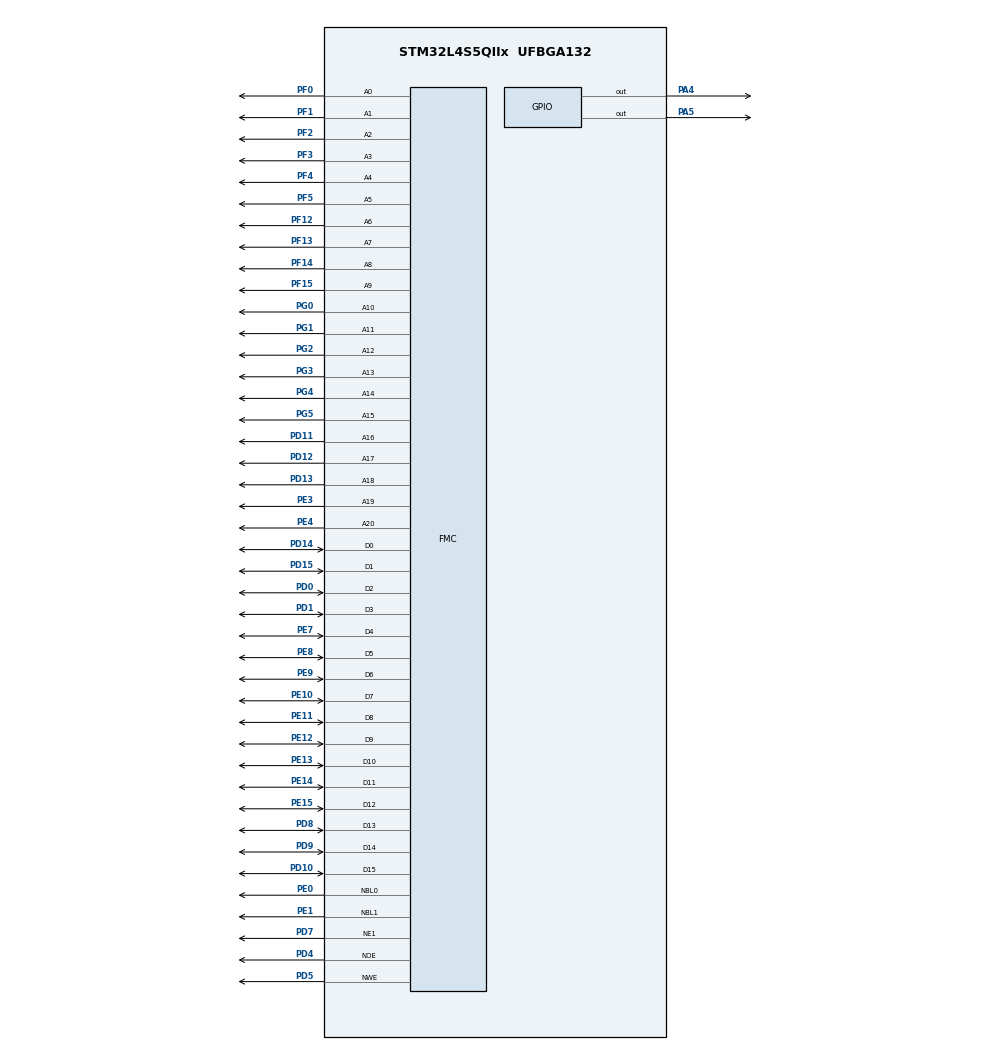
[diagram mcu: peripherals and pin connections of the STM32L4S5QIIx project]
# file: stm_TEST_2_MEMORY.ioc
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FMC.WriteFifo1=FMC_WRITE_FIFO_DISABLE
FMC.WriteFifo2=FMC_WRITE_FIFO_DISABLE
FMC.WriteFifo3=FMC_WRITE_FIFO_DISABLE
FMC.WriteFifo4=FMC_WRITE_FIFO_DISABLE
FMC.WriteOperation1=FMC_WRITE_OPERATION_ENABLE
Mcu.Family=STM32L4
Mcu.Name=STM32L4S5QIIx
Mcu.Package=UFBGA132
NVIC.PriorityGroup=NVIC_PRIORITYGROUP_4
PA4.GPIO_PuPd=GPIO_PULLDOWN
PA4.Signal=GPIO_Output
PA5.GPIO_PuPd=GPIO_PULLDOWN
PA5.Signal=GPIO_Output
PD0.Signal=FMC_D2_DA2
PD1.Signal=FMC_D3_DA3
PD10.Signal=FMC_D15_DA15
PD11.Signal=FMC_A16_CLE
PD12.Signal=FMC_A17_ALE
PD13.Signal=FMC_A18
PD14.Signal=FMC_D0_DA0
PD15.Signal=FMC_D1_DA1
PD4.Signal=FMC_NOE
PD5.Signal=FMC_NWE
PD7.Mode=NorPsramChipSelect1_1
PD7.Signal=FMC_NE1
PD8.Signal=FMC_D13_DA13
PD9.Signal=FMC_D14_DA14
PE0.Signal=FMC_NBL0
PE1.Signal=FMC_NBL1
PE10.Signal=FMC_D7_DA7
PE11.Signal=FMC_D8_DA8
PE12.Signal=FMC_D9_DA9
PE13.Signal=FMC_D10_DA10
PE14.Signal=FMC_D11_DA11
PE15.Signal=FMC_D12_DA12
PE3.Signal=FMC_A19
PE4.Signal=FMC_A20
PE7.Signal=FMC_D4_DA4
PE8.Signal=FMC_D5_DA5
PE9.Signal=FMC_D6_DA6
PF0.Signal=FMC_A0
PF1.Signal=FMC_A1
PF12.Signal=FMC_A6
PF13.Signal=FMC_A7
PF14.Signal=FMC_A8
PF15.Signal=FMC_A9
PF2.Signal=FMC_A2
PF3.Signal=FMC_A3
PF4.Signal=FMC_A4
PF5.Signal=FMC_A5
PG0.Signal=FMC_A10
PG1.Signal=FMC_A11
PG2.Signal=FMC_A12
PG3.Signal=FMC_A13
PG4.Signal=FMC_A14
PG5.Signal=FMC_A15
ProjectManager.HeapSize=0x200
ProjectManager.StackSize=0x400
ProjectManager.TargetToolchain=STM32CubeIDE
RCC.HSE_VALUE=8000000
RCC.HSI48_VALUE=48000000
RCC.HSI_VALUE=16000000
RCC.LSE_VALUE=32768
RCC.MSI_VALUE=4000000
RCC.VCOOutputFreq_Value=32000000
SH.FMC_A0.0=FMC_A0,21b-a1
SH.FMC_A1.0=FMC_A1,21b-a1
SH.FMC_A10.0=FMC_A10,21b-a1
SH.FMC_A11.0=FMC_A11,21b-a1
SH.FMC_A12.0=FMC_A12,21b-a1
SH.FMC_A13.0=FMC_A13,21b-a1
SH.FMC_A14.0=FMC_A14,21b-a1
SH.FMC_A15.0=FMC_A15,21b-a1
SH.FMC_A16_CLE.0=FMC_CLE
SH.FMC_A16_CLE.1=FMC_A16,21b-a1
SH.FMC_A17_ALE.0=FMC_ALE
SH.FMC_A17_ALE.1=FMC_A17,21b-a1
SH.FMC_A18.0=FMC_A18,21b-a1
SH.FMC_A19.0=FMC_A19,21b-a1
SH.FMC_A2.0=FMC_A2,21b-a1
SH.FMC_A20.0=FMC_A20,21b-a1
SH.FMC_A3.0=FMC_A3,21b-a1
SH.FMC_A4.0=FMC_A4,21b-a1
SH.FMC_A5.0=FMC_A5,21b-a1
SH.FMC_A6.0=FMC_A6,21b-a1
SH.FMC_A7.0=FMC_A7,21b-a1
SH.FMC_A8.0=FMC_A8,21b-a1
SH.FMC_A9.0=FMC_A9,21b-a1
SH.FMC_D0_DA0.0=FMC_D0,16b-d1
SH.FMC_D10_DA10.0=FMC_D10,16b-d1
SH.FMC_D11_DA11.0=FMC_D11,16b-d1
SH.FMC_D12_DA12.0=FMC_D12,16b-d1
SH.FMC_D13_DA13.0=FMC_D13,16b-d1
SH.FMC_D14_DA14.0=FMC_D14,16b-d1
SH.FMC_D15_DA15.0=FMC_D15,16b-d1
SH.FMC_D1_DA1.0=FMC_D1,16b-d1
SH.FMC_D2_DA2.0=FMC_D2,16b-d1
SH.FMC_D3_DA3.0=FMC_D3,16b-d1
SH.FMC_D4_DA4.0=FMC_D4,16b-d1
SH.FMC_D5_DA5.0=FMC_D5,16b-d1
SH.FMC_D6_DA6.0=FMC_D6,16b-d1
SH.FMC_D7_DA7.0=FMC_D7,16b-d1
SH.FMC_D8_DA8.0=FMC_D8,16b-d1
SH.FMC_D9_DA9.0=FMC_D9,16b-d1
SH.FMC_NBL0.0=FMC_NBL0,2ByteEnable1
SH.FMC_NBL1.0=FMC_NBL1,2ByteEnable1
SH.FMC_NOE.0=FMC_NOE,Sram1
SH.FMC_NWE.0=FMC_NWE,Sram1
board=custom

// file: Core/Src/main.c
/* USER CODE BEGIN Header */
/**
  ******************************************************************************
  * @file           : main.c
  * @brief          : Main program body
  ******************************************************************************
  * @attention
  *
  * Copyright (c) 2024 STMicroelectronics.
  * All rights reserved.
  *
  * This software is licensed under terms that can be found in the LICENSE file
  * in the root directory of this software component.
  * If no LICENSE file comes with this software, it is provided AS-IS.
  *
  ******************************************************************************
  */
/* USER CODE END Header */
#include "main.h"

SRAM_HandleTypeDef hsram1;

void SystemClock_Config(void);
static void MX_GPIO_Init(void);
static void MX_FMC_Init(void);

int main(void)
{
  /* USER CODE BEGIN 1 */
		volatile uint16_t * ptr = (uint16_t *)(0x60000000U);
		volatile uint16_t * ptr_teste;
		int count = 0;
		int done = 0;
		uint16_t data_read;
		uint16_t data_write;
		uint16_t data_read1;
		uint16_t data_read2;
  /* USER CODE END 1 */

  /* MCU Configuration--------------------------------------------------------*/

  /* Reset of all peripherals, Initializes the Flash interface and the Systick. */
  HAL_Init();

  /* Configure the system clock */
  SystemClock_Config();

  /* Initialize all configured peripherals */
  MX_GPIO_Init();
  MX_FMC_Init();
  /* USER CODE BEGIN 2 */
  void bypass1()
    {
  	  uint16_t data_read;
  	  uint16_t * ptr = (uint16_t *)(0x60000000U);
  	  data_read =  *(ptr);
  	  HAL_GPIO_WritePin(GPIOA,GPIO_PIN_4,GPIO_PIN_RESET);
  	  HAL_GPIO_WritePin(GPIOA,GPIO_PIN_5,GPIO_PIN_RESET);
    }

    void bypass2()
      {
  	  uint16_t data_read;
  	  uint16_t * ptr = (uint16_t *)(0x60000000U);
  	  data_read =  *(ptr);
    	  HAL_GPIO_WritePin(GPIOA,GPIO_PIN_4,GPIO_PIN_SET);
    	  HAL_GPIO_WritePin(GPIOA,GPIO_PIN_5,GPIO_PIN_RESET);
      }
    void TBEC()
        {
  	  	  uint16_t data_read;
  	  	  uint16_t * ptr = (uint16_t *)(0x60000000U);
  	  	  data_read =  *(ptr);
      	  HAL_GPIO_WritePin(GPIOA,GPIO_PIN_4,GPIO_PIN_RESET);
      	  HAL_GPIO_WritePin(GPIOA,GPIO_PIN_5,GPIO_PIN_SET);
        }
    void MRSC()
          {
  	  	  uint16_t data_read;
  	  	  uint16_t * ptr = (uint16_t *)(0x60000000U);
  	  	  data_read =  *(ptr);
        	  HAL_GPIO_WritePin(GPIOA,GPIO_PIN_4,GPIO_PIN_SET);
        	  HAL_GPIO_WritePin(GPIOA,GPIO_PIN_5,GPIO_PIN_SET);
          }

  /* USER CODE END 2 */

  /* Infinite loop */
  /* USER CODE BEGIN WHILE */
  while (1)
  {
	  TBEC();
	  data_write = 0xAA;
	  *ptr = data_write;
	 /* bypass1();
	  data_read1 = *ptr;
	  bypass2();
	  data_read2 = *ptr;*/
	  data_read1 = *ptr;
	  MRSC();
	  	  data_write = 0xAA;
	  	  *ptr = data_write;
	  	 bypass1();
	  	  data_read1 = *ptr;
	  	  bypass2();
	  	  data_read2 = *ptr;
	  	  data_read1 = *ptr;
    /* USER CODE END WHILE */

  }
}

void SystemClock_Config(void)
{
  RCC_OscInitTypeDef RCC_OscInitStruct = {0};
  RCC_ClkInitTypeDef RCC_ClkInitStruct = {0};

  /** Configure the main internal regulator output voltage
  */
  if (HAL_PWREx_ControlVoltageScaling(PWR_REGULATOR_VOLTAGE_SCALE1) != HAL_OK)
  {
    Error_Handler();
  }

  /** Initializes the RCC Oscillators according to the specified parameters
  * in the RCC_OscInitTypeDef structure.
  */
  RCC_OscInitStruct.OscillatorType = RCC_OSCILLATORTYPE_MSI;
  RCC_OscInitStruct.MSIState = RCC_MSI_ON;
  RCC_OscInitStruct.MSICalibrationValue = 0;
  RCC_OscInitStruct.MSIClockRange = RCC_MSIRANGE_6;
  RCC_OscInitStruct.PLL.PLLState = RCC_PLL_NONE;
  if (HAL_RCC_OscConfig(&RCC_OscInitStruct) != HAL_OK)
  {
    Error_Handler();
  }

  /** Initializes the CPU, AHB and APB buses clocks
  */
  RCC_ClkInitStruct.ClockType = RCC_CLOCKTYPE_HCLK|RCC_CLOCKTYPE_SYSCLK
                              |RCC_CLOCKTYPE_PCLK1|RCC_CLOCKTYPE_PCLK2;
  RCC_ClkInitStruct.SYSCLKSource = RCC_SYSCLKSOURCE_MSI;
  RCC_ClkInitStruct.AHBCLKDivider = RCC_SYSCLK_DIV1;
  RCC_ClkInitStruct.APB1CLKDivider = RCC_HCLK_DIV1;
  RCC_ClkInitStruct.APB2CLKDivider = RCC_HCLK_DIV1;

  if (HAL_RCC_ClockConfig(&RCC_ClkInitStruct, FLASH_LATENCY_0) != HAL_OK)
  {
    Error_Handler();
  }
}

/* FMC initialization function */
static void MX_FMC_Init(void)
{

  FMC_NORSRAM_TimingTypeDef Timing = {0};

  /** Perform the SRAM1 memory initialization sequence
  */
  hsram1.Instance = FMC_NORSRAM_DEVICE;
  hsram1.Extended = FMC_NORSRAM_EXTENDED_DEVICE;
  /* hsram1.Init */
  hsram1.Init.NSBank = FMC_NORSRAM_BANK1;
  hsram1.Init.DataAddressMux = FMC_DATA_ADDRESS_MUX_DISABLE;
  hsram1.Init.MemoryType = FMC_MEMORY_TYPE_SRAM;
  hsram1.Init.MemoryDataWidth = FMC_NORSRAM_MEM_BUS_WIDTH_16;
  hsram1.Init.BurstAccessMode = FMC_BURST_ACCESS_MODE_DISABLE;
  hsram1.Init.WaitSignalPolarity = FMC_WAIT_SIGNAL_POLARITY_LOW;
  hsram1.Init.WaitSignalActive = FMC_WAIT_TIMING_BEFORE_WS;
  hsram1.Init.WriteOperation = FMC_WRITE_OPERATION_ENABLE;
  hsram1.Init.WaitSignal = FMC_WAIT_SIGNAL_DISABLE;
  hsram1.Init.ExtendedMode = FMC_EXTENDED_MODE_DISABLE;
  hsram1.Init.AsynchronousWait = FMC_ASYNCHRONOUS_WAIT_DISABLE;
  hsram1.Init.WriteBurst = FMC_WRITE_BURST_DISABLE;
  hsram1.Init.ContinuousClock = FMC_CONTINUOUS_CLOCK_SYNC_ONLY;
  hsram1.Init.WriteFifo = FMC_WRITE_FIFO_DISABLE;
  hsram1.Init.NBLSetupTime = 0;
  hsram1.Init.PageSize = FMC_PAGE_SIZE_NONE;
  /* Timing */
  Timing.AddressSetupTime = 15;
  Timing.AddressHoldTime = 15;
  Timing.DataSetupTime = 255;
  Timing.DataHoldTime = 0;
  Timing.BusTurnAroundDuration = 15;
  Timing.CLKDivision = 16;
  Timing.DataLatency = 17;
  Timing.AccessMode = FMC_ACCESS_MODE_A;
  /* ExtTiming */

  if (HAL_SRAM_Init(&hsram1, &Timing, NULL) != HAL_OK)
  {
    Error_Handler( );
  }

}

static void MX_GPIO_Init(void)
{
  GPIO_InitTypeDef GPIO_InitStruct = {0};

  /* GPIO Ports Clock Enable */
  __HAL_RCC_GPIOE_CLK_ENABLE();
  __HAL_RCC_GPIOD_CLK_ENABLE();
  __HAL_RCC_GPIOF_CLK_ENABLE();
  __HAL_RCC_GPIOG_CLK_ENABLE();
  HAL_PWREx_EnableVddIO2();
  __HAL_RCC_GPIOA_CLK_ENABLE();

  /*Configure GPIO pin Output Level */
  HAL_GPIO_WritePin(GPIOA, GPIO_PIN_4|GPIO_PIN_5, GPIO_PIN_RESET);

  /*Configure GPIO pins : PA4 PA5 */
  GPIO_InitStruct.Pin = GPIO_PIN_4|GPIO_PIN_5;
  GPIO_InitStruct.Mode = GPIO_MODE_OUTPUT_PP;
  GPIO_InitStruct.Pull = GPIO_PULLDOWN;
  GPIO_InitStruct.Speed = GPIO_SPEED_FREQ_LOW;
  HAL_GPIO_Init(GPIOA, &GPIO_InitStruct);

}

void Error_Handler(void)
{
  __disable_irq();
  while (1)
  {
  }
}
